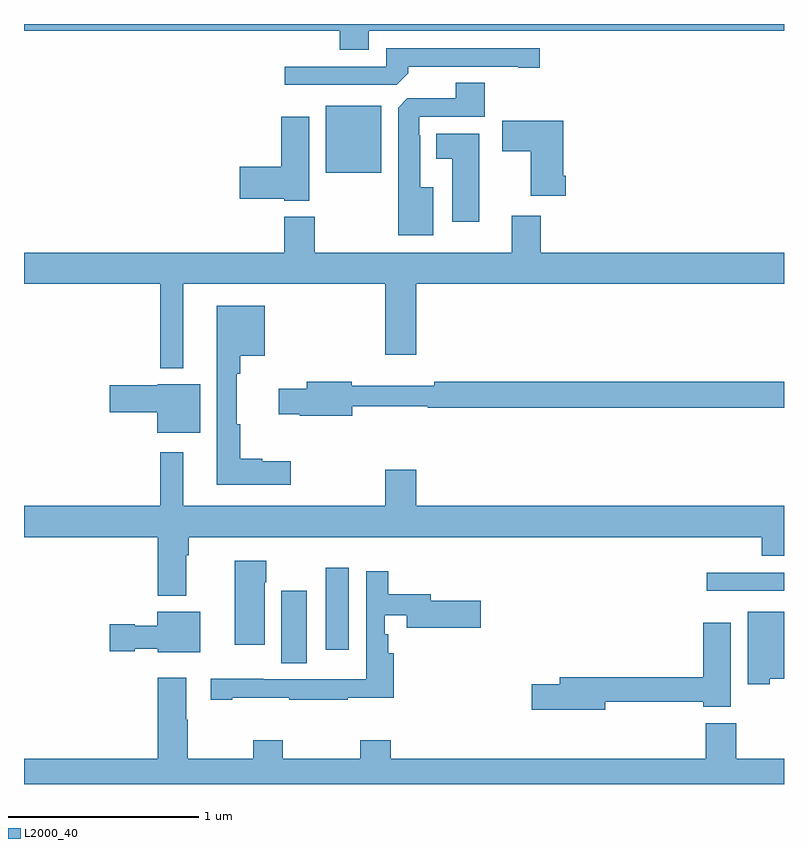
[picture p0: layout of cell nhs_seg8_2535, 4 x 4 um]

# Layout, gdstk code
import gdstk
lib = gdstk.Library(unit=1e-6, precision=1e-09)
def R(c, l, rs):  # rectangles x0, y0, x1, y1
    for r in rs: c.add(gdstk.rectangle(r[:2], r[2:], *l))
def P(c, l, *ps):  # polygons
    for p in ps: c.add(gdstk.Polygon(p, *l))
L2000_40 = (2000, 40)

nhs_seg8_2535 = lib.new_cell('nhs_seg8_2535')
R(nhs_seg8_2535, L2000_40, [(272.354,1082.536,272.488,1082.917), (272.588,1082.607,272.71,1083.037), (274.593,1082.916,275,1083.012), (272.588,1085.117,272.881,1085.47)])
P(nhs_seg8_2535, L2000_40, [(272.815,1085.864),(275,1085.864),(275,1085.9),(271,1085.9),(271,1085.864),(272.663,1085.864),(272.663,1085.765),(272.815,1085.765)],
  [(273.023,1085.642),(273.023,1085.676),(273.602,1085.676),(273.602,1085.671),(273.715,1085.671),(273.715,1085.772),(272.907,1085.772),(272.907,1085.676),(272.373,1085.676),(272.373,1085.58),(272.961,1085.58)],
  [(273.154,1085.041),(273.085,1085.041),(273.085,1085.315),(273.081,1085.315),(273.081,1085.412),(273.425,1085.412),(273.425,1085.591),(273.272,1085.591),(273.272,1085.508),(273.018,1085.508),(272.969,1085.459),(272.969,1084.787),(273.154,1084.787)],
  [(272.5,1085.413),(272.354,1085.413),(272.354,1085.15),(272.136,1085.15),(272.136,1084.979),(272.37,1084.979),(272.37,1084.97),(272.5,1084.97)],
  [(273.851,1085.101),(273.838,1085.101),(273.838,1085.392),(273.516,1085.392),(273.516,1085.23),(273.668,1085.23),(273.668,1084.997),(273.851,1084.997)],
  [(273.397,1085.323),(273.17,1085.323),(273.17,1085.192),(273.254,1085.192),(273.254,1084.86),(273.397,1084.86)],
  [(271.837,1084.532),(272.9,1084.532),(272.9,1084.158),(273.064,1084.158),(273.064,1084.532),(275,1084.532),(275,1084.696),(273.719,1084.696),(273.719,1084.891),(273.566,1084.891),(273.566,1084.696),(272.529,1084.696),(272.529,1084.885),(272.369,1084.885),(272.369,1084.696),(271,1084.696),(271,1084.532),(271.716,1084.532),(271.716,1084.088),(271.837,1084.088)],
  [(272.404,1083.598),(272.253,1083.598),(272.253,1083.611),(272.137,1083.611),(272.137,1083.794),(272.119,1083.794),(272.119,1084.058),(272.137,1084.058),(272.137,1084.154),(272.266,1084.154),(272.266,1084.417),(272.015,1084.417),(272.015,1083.476),(272.404,1083.476)],
  [(272.728,1083.888),(273.124,1083.888),(273.124,1083.88),(275,1083.88),(275,1084.016),(273.16,1084.016),(273.16,1083.997),(272.724,1083.997),(272.724,1084.016),(272.489,1084.016),(272.489,1083.98),(272.34,1083.98),(272.34,1083.845),(272.452,1083.845),(272.452,1083.838),(272.728,1083.838)],
  [(271.927,1084.003),(271.704,1084.003),(271.704,1083.998),(271.452,1083.998),(271.452,1083.856),(271.7,1083.856),(271.7,1083.749),(271.927,1083.749)],
  [(271.855,1083.104),(271.868,1083.104),(271.868,1083.2),(274.883,1083.2),(274.883,1083.101),(275,1083.101),(275,1083.364),(273.064,1083.364),(273.064,1083.553),(272.9,1083.553),(272.9,1083.364),(271.837,1083.364),(271.837,1083.646),(271.716,1083.646),(271.716,1083.364),(271,1083.364),(271,1083.2),(271.703,1083.2),(271.703,1082.891),(271.855,1082.891)],
  [(272.266,1082.963),(272.274,1082.963),(272.274,1083.076),(272.108,1083.076),(272.108,1082.634),(272.266,1082.634)],
  [(272.095,1082.353),(272.395,1082.353),(272.395,1082.343),(272.705,1082.343),(272.705,1082.353),(272.945,1082.353),(272.945,1082.587),(272.918,1082.587),(272.918,1082.688),(272.898,1082.688),(272.898,1082.789),(273.014,1082.789),(273.014,1082.723),(273.403,1082.723),(273.403,1082.865),(273.142,1082.865),(273.142,1082.899),(272.918,1082.899),(272.918,1083.019),(272.802,1083.019),(272.802,1082.452),(272.592,1082.452),(272.592,1082.451),(272.258,1082.451),(272.258,1082.453),(271.983,1082.453),(271.983,1082.343),(272.095,1082.343)],
  [(274.926,1082.453),(275,1082.453),(275,1082.806),(274.808,1082.806),(274.808,1082.426),(274.926,1082.426)],
  [(271.927,1082.806),(271.7,1082.806),(271.7,1082.734),(271.584,1082.734),(271.584,1082.742),(271.452,1082.742),(271.452,1082.6),(271.584,1082.6),(271.584,1082.612),(271.704,1082.612),(271.704,1082.594),(271.927,1082.594)],
  [(274.06,1082.334),(274.574,1082.334),(274.574,1082.306),(274.72,1082.306),(274.72,1082.749),(274.574,1082.749),(274.574,1082.462),(273.821,1082.462),(273.821,1082.426),(273.672,1082.426),(273.672,1082.291),(274.06,1082.291)],
  [(275,1082.032),(274.749,1082.032),(274.749,1082.221),(274.589,1082.221),(274.589,1082.032),(272.93,1082.032),(272.93,1082.131),(272.77,1082.131),(272.77,1082.032),(272.361,1082.032),(272.361,1082.131),(272.206,1082.131),(272.206,1082.032),(271.863,1082.032),(271.863,1082.237),(271.855,1082.237),(271.855,1082.458),(271.703,1082.458),(271.703,1082.032),(271,1082.032),(271,1081.9),(275,1081.9)])

lib.write_gds('nhs_seg8_2535.gds')
